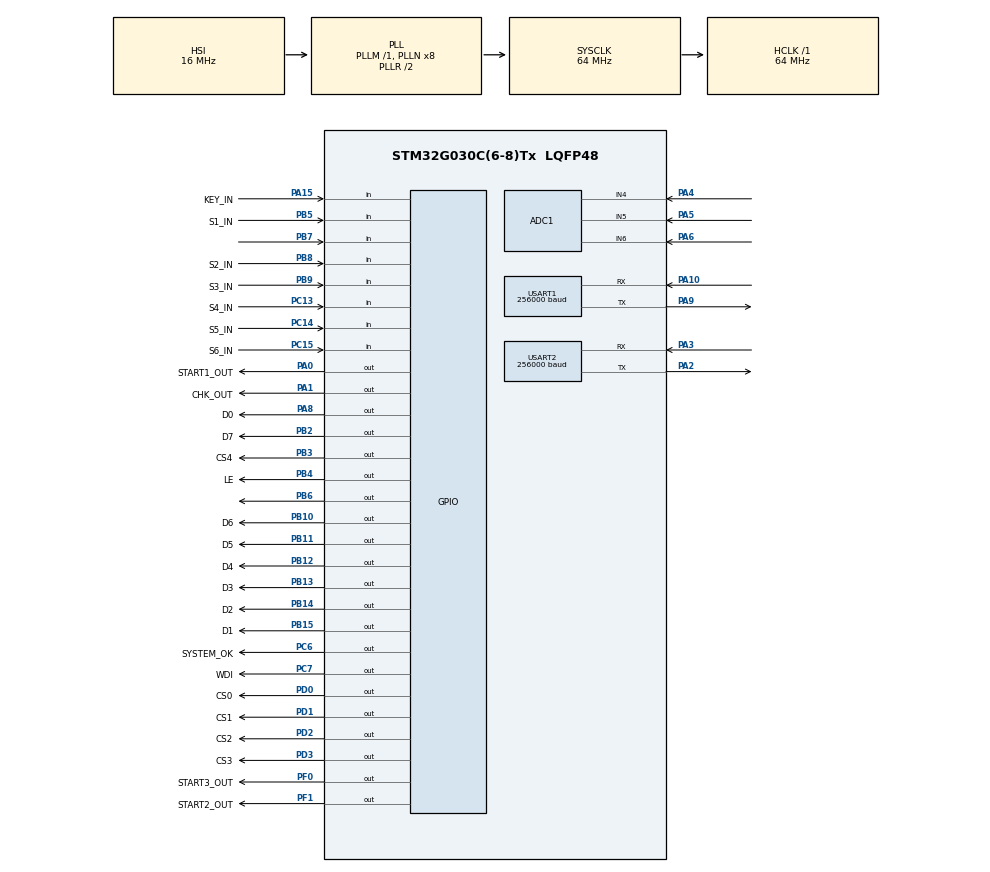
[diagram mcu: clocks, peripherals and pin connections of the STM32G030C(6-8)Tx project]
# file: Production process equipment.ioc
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ADC1.Channel-2\#ChannelRegularConversion=ADC_CHANNEL_4
ADC1.Channel-3\#ChannelRegularConversion=ADC_CHANNEL_5
ADC1.Channel-4\#ChannelRegularConversion=ADC_CHANNEL_6
ADC1.ContinuousConvMode=ENABLE
ADC1.DMAContinuousRequests=ENABLE
ADC1.NbrOfConversion=3
ADC1.NbrOfConversionFlag=1
ADC1.Rank-2\#ChannelRegularConversion=1
ADC1.Rank-3\#ChannelRegularConversion=2
ADC1.Rank-4\#ChannelRegularConversion=3
ADC1.SamplingTime-2\#ChannelRegularConversion=ADC_SAMPLINGTIME_COMMON_1
ADC1.SamplingTime-3\#ChannelRegularConversion=ADC_SAMPLINGTIME_COMMON_1
ADC1.SamplingTime-4\#ChannelRegularConversion=ADC_SAMPLINGTIME_COMMON_1
ADC1.SamplingTimeCommon1=ADC_SAMPLETIME_79CYCLES_5
ADC1.SelectedChannel=ADC_CHANNEL_4|ADC_CHANNEL_5|ADC_CHANNEL_6
ADC1.Sequencer=FULLY_CONFIGURABLE
ADC1.master=1
Dma.ADC1.0.Direction=DMA_PERIPH_TO_MEMORY
Dma.ADC1.0.EventEnable=DISABLE
Dma.ADC1.0.Instance=DMA1_Channel1
Dma.ADC1.0.MemDataAlignment=DMA_MDATAALIGN_HALFWORD
Dma.ADC1.0.MemInc=DMA_MINC_ENABLE
Dma.ADC1.0.Mode=DMA_CIRCULAR
Dma.ADC1.0.PeriphDataAlignment=DMA_PDATAALIGN_HALFWORD
Dma.ADC1.0.PeriphInc=DMA_PINC_DISABLE
Dma.ADC1.0.Polarity=HAL_DMAMUX_REQ_GEN_RISING
Dma.ADC1.0.Priority=DMA_PRIORITY_LOW
Dma.ADC1.0.RequestNumber=1
Dma.ADC1.0.SignalID=NONE
Dma.ADC1.0.SyncEnable=DISABLE
Dma.ADC1.0.SyncPolarity=HAL_DMAMUX_SYNC_NO_EVENT
Dma.ADC1.0.SyncRequestNumber=1
Dma.ADC1.0.SyncSignalID=NONE
Dma.Request0=ADC1
Mcu.Family=STM32G0
Mcu.Name=STM32G030C(6-8)Tx
Mcu.Package=LQFP48
NVIC.DMA1_Channel1_IRQn=true\:0\:0\:false\:false\:true\:false\:true\:true
NVIC.TIM14_IRQn=true\:0\:0\:false\:false\:true\:true\:true\:true
PA0.GPIO_Label=START1_OUT
PA0.Signal=GPIO_Output
PA1.GPIO_Label=CHK_OUT
PA1.Signal=GPIO_Output
PA10.Mode=Asynchronous
PA10.Signal=USART1_RX
PA13.Mode=Serial_Wire
PA13.Signal=SYS_SWDIO
PA14-BOOT0.Mode=Serial_Wire
PA14-BOOT0.Signal=SYS_SWCLK
PA15.GPIO_Label=KEY_IN
PA15.Signal=GPIO_Input
PA2.Mode=Asynchronous
PA2.Signal=USART2_TX
PA3.Mode=Asynchronous
PA3.Signal=USART2_RX
PA4.Signal=SharedAnalog_PA4
PA5.Signal=SharedAnalog_PA5
PA6.Signal=SharedAnalog_PA6
PA8.GPIO_Label=D0
PA8.Signal=GPIO_Output
PA9.Mode=Asynchronous
PA9.Signal=USART1_TX
PB10.GPIO_Label=D6
PB10.Signal=GPIO_Output
PB11.GPIO_Label=D5
PB11.Signal=GPIO_Output
PB12.GPIO_Label=D4
PB12.Signal=GPIO_Output
PB13.GPIO_Label=D3
PB13.Signal=GPIO_Output
PB14.GPIO_Label=D2
PB14.Signal=GPIO_Output
PB15.GPIO_Label=D1
PB15.Signal=GPIO_Output
PB2.GPIO_Label=D7
PB2.Signal=GPIO_Output
PB3.GPIO_Label=CS4
PB3.Signal=GPIO_Output
PB4.GPIO_Label=LE
PB4.Signal=GPIO_Output
PB5.GPIO_Label=S1_IN
PB5.Signal=GPIO_Input
PB6.GPIO_Speed=GPIO_SPEED_FREQ_VERY_HIGH
PB6.Signal=GPIO_Output
PB7.Signal=GPIO_Input
PB8.GPIO_Label=S2_IN
PB8.Signal=GPIO_Input
PB9.GPIO_Label=S3_IN
PB9.Signal=GPIO_Input
PC13.GPIO_Label=S4_IN
PC13.Signal=GPIO_Input
PC14-OSC32_IN\ (PC14).GPIO_Label=S5_IN
PC14-OSC32_IN\ (PC14).Signal=GPIO_Input
PC15-OSC32_OUT\ (PC15).GPIO_Label=S6_IN
PC15-OSC32_OUT\ (PC15).Signal=GPIO_Input
PC6.GPIO_Label=SYSTEM_OK
PC6.Signal=GPIO_Output
PC7.GPIO_Label=WDI
PC7.Signal=GPIO_Output
PD0.GPIO_Label=CS0
PD0.Signal=GPIO_Output
PD1.GPIO_Label=CS1
PD1.Signal=GPIO_Output
PD2.GPIO_Label=CS2
PD2.Signal=GPIO_Output
PD3.GPIO_Label=CS3
PD3.Signal=GPIO_Output
PF0-OSC_IN\ (PF0).GPIO_Label=START3_OUT
PF0-OSC_IN\ (PF0).Signal=GPIO_Output
PF1-OSC_OUT\ (PF1).GPIO_Label=START2_OUT
PF1-OSC_OUT\ (PF1).Signal=GPIO_Output
ProjectManager.HeapSize=0x200
ProjectManager.StackSize=0x400
ProjectManager.TargetToolchain=MDK-ARM V5.32
RCC.ADCFreq_Value=64000000
RCC.AHBFreq_Value=64000000
RCC.CortexFreq_Value=64000000
RCC.EXTERNAL_CLOCK_VALUE=12288000
RCC.HCLKFreq_Value=64000000
RCC.HSE_VALUE=8000000
RCC.HSI_VALUE=16000000
RCC.LSE_VALUE=32768
RCC.SYSCLKFreq_VALUE=64000000
RCC.SYSCLKSource=RCC_SYSCLKSOURCE_PLLCLK
RCC.VCOOutputFreq_Value=128000000
SH.SharedAnalog_PA4.0=GPIO_Analog
SH.SharedAnalog_PA4.1=ADC1_IN4,IN4
SH.SharedAnalog_PA5.0=GPIO_Analog
SH.SharedAnalog_PA5.1=ADC1_IN5,IN5
SH.SharedAnalog_PA6.0=GPIO_Analog
SH.SharedAnalog_PA6.1=ADC1_IN6,IN6
TIM14.Period=499
TIM14.Prescaler=63
USART1.BaudRate=256000
USART1.VirtualMode-Asynchronous=VM_ASYNC
USART2.BaudRate=256000
USART2.VirtualMode-Asynchronous=VM_ASYNC
VP_TIM14_VS_ClockSourceINT.Mode=Enable_Timer
board=custom

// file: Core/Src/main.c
/* USER CODE BEGIN Header */
/**
  ******************************************************************************
  * @file           : main.c
  * @brief          : Main program body
  ******************************************************************************
  * @attention
  *
  * Copyright (c) 2023 STMicroelectronics.
  * All rights reserved.
  *
  * This software is licensed under terms that can be found in the LICENSE file
  * in the root directory of this software component.
  * If no LICENSE file comes with this software, it is provided AS-IS.
  *
  ******************************************************************************
  */
/* USER CODE END Header */
#include "main.h"
#include "adc.h"
#include "dma.h"
#include "tim.h"
#include "usart.h"
#include "gpio.h"

/* USER CODE BEGIN Includes */
#include "ina219a.h"

#include "string.h"
#include "stdarg.h"
#include "stdio.h"
#include "tim.h"
/* USER CODE END Includes */

/* USER CODE BEGIN PD */

void sendBufUart1(uint8_t txLen);
/* USER CODE END PD */

void SystemClock_Config(void);
/* USER CODE BEGIN PFP */
#pragma import(__use_no_semihosting)    //ȷ��û�д�C������ʹ�ð������ĺ��������뵼�����__use_no_semihosting
void _sys_exit(int x)                   //����_sys_exit()�Ա���ʹ�ð�����ģʽ
{
  x = x;
}
struct __FILE                           //��׼����Ҫ��֧�ֺ���
{
  int handle;
};
/* FILE is typedefed in stdio.h*/
FILE __stdout;
FILE __stdin;

/**
  * @brief     �ض���fputc�������ض���c�⺯��putchar��printf��USART1��
  * @param     ch - �ַ�
               *f - �ļ�ָ��
  * @retval    �ַ�
  * @attention ���ܷ����ж���ʹ�ã�����ɲο������������
  */

int fputc(int ch, FILE *f)
{
  HAL_UART_Transmit(&huart1, (uint8_t *)&ch, 1, 0xffff);
  //while ((USART1->SR & UART_FLAG_TXE) == 0) {}  //�ȴ����ݷ������
	while ((USART1->ISR & UART_FLAG_TXE) == 0) {}  //�ȴ����ݷ������
  return ch;
}

/* USER CODE END PFP */

/* USER CODE BEGIN 0 */
#define VALID           1
#define INVALID         0
#define MACHINA         03
#define MOTOR1          VALID
#define MOTOR2          VALID
#define MOTOR3          VALID
#define MOTOR4          INVALID
#define FAN1            VALID
#define FAN2            INVALID
#define FAN3            INVALID

#define DEVS1           VALID
#define DEVS2           VALID
#define DEVS3           INVALID
#define DEVS4           INVALID
#define DEVS5           INVALID
#define DEVS6           INVALID

#define MOTOR_CURRENT_F_MIN     20000
#define MOTOR_CURRENT_B_MIN    -20000
#define FAN_CURRENT_MIN         100

#define QG_SIGN_KEY_DELAY_1000MS       1000
#define QG_SIGN_KEY_TOGGLE_6500MS      6500
#define OK      1
#define ERR     0
#define ADC_CONVERTED_DATA_BUFFER_SIZE      3   //目前3路AC_FAN_ADC
#define VAR_CONVERTED_DATA_INIT_VALUE       0

#define UART1_RXBUF_MAX                     20
#define UART1_TXBUF_MAX                     60
#define UART2_RXBUF_MAX                     10
#define UART2_TXBUF_MAX                     60
#define UART2_TX_CMD_LEN                    34

#define OPENING			1
#define CLOSEING		0
#define OPRN_CLOSE		2
#define MACHINE_OK		0
#define MACHINE_NG		1

__IO   uint16_t mADCxConvertedData[ADC_CONVERTED_DATA_BUFFER_SIZE]; //
__IO   uint8_t mDmaTransferStatus = 2;//
__IO   uint8_t mTimerStatus = 2;//

__IO ITStatus mUart1Ready = RESET;
__IO ITStatus mUart2Ready = RESET;
__IO   uint8_t mRx1Num = 0;
__IO   uint8_t mRx2Num = 0;

int mMotorCurrent[4][11] = {0};// signed long mMotorCurrent[4][11] = {0};
int mFanCurrent[3][41] = {0};
uint8_t mMotorSta[4] = {MACHINE_OK};
uint8_t mFanSta[3] = {MACHINE_OK};
uint8_t mS1toS6Sta0 = 0;
uint8_t mS1toS6Sta1 = 0xff;
uint8_t mS1toS6Sta2 = 0x00;
uint8_t mS1toS6Sta = 0;
uint8_t mInputStatus = 0;
uint8_t mLampStatus[3];

uint16_t mVolAcFan[ADC_CONVERTED_DATA_BUFFER_SIZE]; // 交流风机实际的采样电�?????
uint8_t m573Status[5] = {0};

uint8_t mCheckStatus = 3;               //3：开机后，一直没有开启检测流程，等待KEY_IN和uart2 信号  2：开机后，已经等到KEY_IN，马上发送启动命令给PC  1：正在检测中，不响应KEY_IN信号   0：检测完成，等待KEY_IN和uart2 信号

uint8_t mRxBufUart1[UART1_RXBUF_MAX] = {0};
uint8_t mTxBufUart1[UART1_TXBUF_MAX] = {0};
uint8_t mRxBufUart2[UART2_RXBUF_MAX] = {0};
uint8_t mTxBufUart2[UART2_TXBUF_MAX] = {0};
uint8_t mCmdBufU1[UART1_RXBUF_MAX] = {0};
uint8_t mCmdBufU2[UART2_RXBUF_MAX] = {0};
uint8_t mCmdferCountUart1 = 0;
uint8_t mCmdferCountUart2 = 0;

uint16_t crc(uint8_t *s,uint16_t len)
{     uint16_t acc = 0,i;
      while (len--)
      {     acc = acc ^ (*s++ << 8);
            for (i = 0; i++ < 8;)
            {     if (acc & 0x8000)
                          acc = (acc << 1) ^ 0x8005;
                  else
                          acc <<= 1;
            }
       }
      return  acc;
}

//命令长度采用定长命令 0x1b 0x10 CMD D0 D1 D2 D3 D4 CRC1 CRC2 10个字
uint8_t CMD_Analysis(uint8_t* CmdBuf, uint8_t bufSize)
{
    uint16_t crc16Val;
    if(bufSize < 10)
        return ERR;
    if(CmdBuf[0] != 0x1b || CmdBuf[1] != 0x10) {
        HAL_UART_Receive_IT(&huart2, (uint8_t *)mRxBufUart2, UART2_RXBUF_MAX);
        HAL_UART_Receive_IT(&huart1, (uint8_t *)mRxBufUart1, UART1_RXBUF_MAX);
        return ERR;
    }
    crc16Val = crc(CmdBuf + 2, 8);
    if(crc16Val != 0) {
        HAL_UART_Receive_IT(&huart2, (uint8_t *)mRxBufUart2, UART2_RXBUF_MAX);
        HAL_UART_Receive_IT(&huart1, (uint8_t *)mRxBufUart1, UART1_RXBUF_MAX);
        return ERR;
    }
    return OK;
}
#define   CMD_START_PC                    0x00
#define   CMD_WRITE_CHK                   0x01
#define   CMD_WRITE_START1                0x02
#define   CMD_WRITE_START2                0x03
#define   CMD_WRITE_START3                0x04

#define   CMD_READ_S1_S6_KEY              0x11
#define   CMD_READ_DC_M1_CURRENT          0x12
#define   CMD_READ_DC_M2_CURRENT          0x13
#define   CMD_READ_DC_M3_CURRENT          0x14
#define   CMD_READ_DC_M4_CURRENT          0x15

#define   CMD_READ_AC_FAN1_CURRENT        0x21
#define   CMD_READ_AC_FAN2_CURRENT        0x22
#define   CMD_READ_AC_FAN3_CURRENT        0x23

#define   CMD_READ_ALL                    0x2f

#define   CMD_WRITE_D0_D7_CS0             0x31
#define   CMD_WRITE_D0_D7_CS1             0x32
#define   CMD_WRITE_D0_D7_CS2             0x33
#define   CMD_WRITE_D0_D7_CS3             0x34
#define   CMD_WRITE_D0_D7_CS4             0x35

void sendBufUart1(uint8_t txLen)
{
    uint16_t i = 0;
    for(i = 0; i < 3 ;i++) {
        if(HAL_UART_Transmit_IT(&huart1,(uint8_t*)mTxBufUart1,txLen) != HAL_OK) {
            HAL_Delay(10);
        }
        else
            break;
    }
    if(i >=3)
        Error_Handler();
}

void sendBufUart2(uint8_t txLen)
{
    uint16_t i = 0;
    for(i = 0; i < 3 ;i++) {
        if(HAL_UART_Transmit_IT(&huart2,(uint8_t*)mTxBufUart2,txLen) != HAL_OK) {
            HAL_Delay(10);
        }
        else
            break;
    }
    if(i >=3)
        Error_Handler();
}
//这个函数可以作废�?????
void StatusUpdata(uint8_t CMD,uint8_t* data,uint8_t size)
{
    uint16_t crcVal = 0;
    if(size > UART2_TX_CMD_LEN - 5)
        size = UART2_TX_CMD_LEN - 5;
    mTxBufUart2[0] = 0x1b;
    mTxBufUart2[1] = 0x10;
    mTxBufUart2[2] = CMD;
    for(int i = 0; i < UART2_TX_CMD_LEN - 5;i++)
        mTxBufUart2[i + 3] = 0x00;
    for(int i = 0; i < size;i++)
        mTxBufUart2[3 + i] = data[i];
    crcVal = crc(mTxBufUart2 + 2, size + 1);
    mTxBufUart2[UART2_TX_CMD_LEN - 2] = crcVal & 0xff;
    mTxBufUart2[UART2_TX_CMD_LEN - 1] = (crcVal >> 8) & 0xff;
    sendBufUart2(UART2_TX_CMD_LEN);
	// while(1){
    //     if(__HAL_UART_GET_FLAG(&huart2,UART_FLAG_TC) == SET)
    //         break;
    //     times++;
    //     if(times > 0xA000)
    //         break;
    // }
    // mUart2Ready = RESET;
    return;
}

void AllStatusUpdata(void)
{
    uint16_t crcVal = 0, i = 0;
    uint8_t *prt;
    mTxBufUart2[0] = 0x1b;
    mTxBufUart2[1] = 0x10;
    mTxBufUart2[2] = CMD_READ_ALL;
    for(i = 0; i < 4; i++) {
        prt = (uint8_t *)mMotorCurrent[i];
        mTxBufUart2[3 + i * 4] = prt[0] & 0xff;
        mTxBufUart2[4 + i * 4] = prt[1] & 0xff;
        mTxBufUart2[5 + i * 4] = prt[2] & 0xff;
        mTxBufUart2[6 + i * 4] = prt[3] & 0xff;
    }

    for(i = 0; i < 3; i++) {
        prt = (uint8_t *)mFanCurrent[i];
        mTxBufUart2[23 + i * 4] = prt[0] & 0xff;
        mTxBufUart2[24 + i * 4] = prt[1] & 0xff;
        mTxBufUart2[25 + i * 4] = prt[2] & 0xff;
        mTxBufUart2[26 + i * 4] = prt[3] & 0xff;
    }
    mTxBufUart2[27] = mCheckStatus;
    mTxBufUart2[28] = mS1toS6Sta;
    mTxBufUart2[29] = mMotorSta[0] | (mMotorSta[1] << 1) | (mMotorSta[2] << 2) | (mMotorSta[3] << 3)
                         | (mFanSta[0] << 4) | (mFanSta[1] << 5) | (mFanSta[2] << 6);
    mTxBufUart2[30] = 0;        //预留
    mTxBufUart2[31] = 0;        //预留

    crcVal = crc(mTxBufUart2 + 2, 30);
    mTxBufUart2[32] = crcVal & 0xff;
    mTxBufUart2[33] = (crcVal >> 8) & 0xff;
    sendBufUart2(34);
}

uint8_t CMD_Process(void)
{
    uint8_t cmd1Len = 0,cmd2Len = 0;
    uint8_t re;
    uint8_t status;
    uint8_t cmdType;
    if(mUart1Ready == SET) {
        cmd1Len = cmd1Len;//Do something
    }
    if(mUart2Ready == SET) {
        cmd2Len = huart2.RxXferSize - huart2.RxXferCount;
        re = CMD_Analysis(huart2.pRxBuffPtr,cmd2Len);
        if(re != OK)
          return re;
        cmdType = huart2.pRxBuffPtr[3];
        switch (cmdType)
        {
            case CMD_START_PC:
                mCheckStatus = 1;
                break;
            case CMD_WRITE_CHK:
                setCheckOut(huart2.pRxBuffPtr[4]);
                break;
            case CMD_WRITE_START1:
                setStart1Out(huart2.pRxBuffPtr[4]);
                break;
            case CMD_WRITE_START2:
                setStart2Out(huart2.pRxBuffPtr[4]);
                break;
            case CMD_WRITE_START3:
                setStart3Out(huart2.pRxBuffPtr[4]);
                break;

            case CMD_READ_S1_S6_KEY:
                status = getS1S6KeyStatus();
                StatusUpdata(CMD_READ_S1_S6_KEY,&status,1);
                break;
            case CMD_READ_ALL:
                AllStatusUpdata();
                break;
            default:
                break;
        }
        HAL_UART_Receive_IT(&huart2, (uint8_t *)mRxBufUart2, UART2_RXBUF_MAX);
        HAL_UART_Receive_IT(&huart1, (uint8_t *)mRxBufUart1, UART1_RXBUF_MAX);
    }
    return re;
}

//ADC
 void HAL_ADC_ConvCpltCallback(ADC_HandleTypeDef *hadc)
{
  /* Prevent unused argument(s) compilation warning */
	 UNUSED(hadc);
   mDmaTransferStatus = 1;//本次转换完成
}

void HAL_UART_RxCpltCallback(UART_HandleTypeDef *huart)
{
  /* Prevent unused argument(s) compilation warning */
  if(huart->Instance == USART1)
	    mUart1Ready = SET;
  else if(huart->Instance == USART2) {
        mUart2Ready = SET;
  }

  /* NOTE : This function should not be modified, when the callback is needed,
            the HAL_UART_RxCpltCallback can be implemented in the user file.
   */
}

// void set573DataforS1S6(uint8_t bit)
// {
//     if(((mS1toS6Sta1 & bit) == bit) && ((mS1toS6Sta2 & bit) == 0x00)) {
//         m573Status[0] |= bit;
//         m573Status[1] &= ~bit;
//     }
//     else {
//         m573Status[1] |= bit;
//         m573Status[0] &= ~bit;
//     }
//     mS1toS6Sta = m573Status[1];     //0:OK  1�???? NG
// }
//mS1toS6Sta1  有一个是低电平就是有故障
//mS1toS6Sta2  有一个是高电平就是有故障
//mS1toS6Sta0  有一个是高电平就是有故障
void set573DataforS1S6(uint8_t bit)
{
    if(((mS1toS6Sta1 & bit) != bit) || ((mS1toS6Sta2 & bit) == bit) || (mS1toS6Sta0 & bit == bit)) {     //有故障
        m573Status[1] |= bit;
        m573Status[0] &= ~bit;
    }
    else {     //都是正常的
        m573Status[0] |= bit;
        m573Status[1] &= ~bit;
    }
    mS1toS6Sta = m573Status[1];     //0:OK  NG:1
}

void set573DataforMotorFan(uint8_t sta,uint8_t bit)
{
    if(sta == MACHINE_OK) {
        m573Status[2] |= bit;
        m573Status[3] &= ~bit;
    }
    else {
        m573Status[2] &= ~bit;
        m573Status[3] |= bit;
    }
}

/* USER CODE END 0 */

int main(void)
{
  /* USER CODE BEGIN 1 */
  GPIO_PinState keyin;
  GPIO_PinState keyinPrevious;
  int keyinCount = 0,avrMCurrrent = 0;
  uint8_t inaAddress = 0,motorCurrentCount = 0,fanCurrentCount = 0, i = 0,j = 0;
  s32 avrFanCurrent = 0;
  uint32_t totalCount = 0;
  uint8_t systemStaMachine = 0;
  uint16_t motorStep[4] = {0};
  uint16_t motorStep_FB_Current[4] = {0};   //只有电流方向正确下的电机步数
  uint16_t fanStep[3] = {0};
  int motorCur_temp[4] = {0};
  uint8_t allMotorSta = 0, allFanSta = 0, tempSta = 0;
  /* USER CODE END 1 */

  /* MCU Configuration--------------------------------------------------------*/

  /* Reset of all peripherals, Initializes the Flash interface and the Systick. */
  HAL_Init();

  /* Configure the system clock */
  SystemClock_Config();

  /* Initialize all configured peripherals */
  MX_GPIO_Init();
  MX_DMA_Init();
  MX_ADC1_Init();
  MX_TIM14_Init();
  MX_USART1_UART_Init();
  MX_USART2_UART_Init();
  /* USER CODE BEGIN 2 */

    for(i = 0 ;i < 5; i++) {
        setDforLed(i, m573Status[i]);
    }

  for (i = 0; i < ADC_CONVERTED_DATA_BUFFER_SIZE; i++)
  {
      mADCxConvertedData[i] = VAR_CONVERTED_DATA_INIT_VALUE;  //
  }
  if (HAL_ADCEx_Calibration_Start(&hadc1) != HAL_OK)//ADC
  {
      /* Calibration Error */
        Error_Handler();
  }
  if (HAL_ADC_Start_DMA(&hadc1,
                      (uint32_t *)mADCxConvertedData,
                      ADC_CONVERTED_DATA_BUFFER_SIZE
                      ) != HAL_OK)
  {
      /* ADC conversion start error */
        Error_Handler();
  }
  if (HAL_TIM_Base_Start_IT(&htim14) != HAL_OK)//start TIM14
  {
        Error_Handler();
  }

//   if(HAL_UART_Receive_IT(&huart2, (uint8_t *)mRxBufUart2, UART2_RXBUF_MAX) != HAL_OK)
//   {
//         Error_Handler();
//   }

//   if(HAL_UART_Receive_IT(&huart1, (uint8_t *)mRxBufUart1, UART1_RXBUF_MAX) != HAL_OK)
//   {
//         Error_Handler();
//   }
  ina219_configureRegisters();
  /* USER CODE END 2 */

  /* Infinite loop */
  /* USER CODE BEGIN WHILE */
  while (1)
  {

        // CMD_Process();//
        if(mTimerStatus != 1) {   //1000us Timer
            continue;
        }
        ToggleWDI();
        if(mCheckStatus != 3)
            totalCount++;
        if((totalCount % 500) == 1)
            Toggle_SYSTEM_OK();
        if(mDmaTransferStatus == 1) {
            mFanCurrent[0][fanCurrentCount] = mADCxConvertedData[0]*3300/4096;
            mFanCurrent[1][fanCurrentCount] = mADCxConvertedData[1]*3300/4096;
            mFanCurrent[2][fanCurrentCount] = mADCxConvertedData[2]*3300/4096;
            // printf("mFanCurrent = %d,%d,%d \r\n",mFanCurrent[0][fanCurrentCount],mFanCurrent[1][fanCurrentCount],mFanCurrent[2][fanCurrentCount]);
            mDmaTransferStatus = 0;
            fanCurrentCount++;
            if(fanCurrentCount >= 40) {
                fanCurrentCount = 0;
                for(i = 0;i < 3;i++) {
                    avrFanCurrent = 0;
                    for(j = 0;j < 40; j++) {
                        avrFanCurrent += mFanCurrent[i][j];
                    }
                    mFanCurrent[i][40] = avrFanCurrent / 40;
                    // if(totalCount > (100 + QG_SIGN_KEY_DELAY_1000MS) && totalCount < (500 + QG_SIGN_KEY_DELAY_1000MS)) {     //100ms ~ 500ms
                    if(totalCount > (100 + QG_SIGN_KEY_DELAY_1000MS)) {     //> 100ms
                        if(mFanCurrent[i][40] > FAN_CURRENT_MIN) {
                            fanStep[i]++;
                        }
                    }
                }
            }
        }
        //
        if(inaAddress == 0){
                mMotorCurrent[0][motorCurrentCount] = ina219_GetCurrent_uA(INA219_I2C_ADDRESS_CONF_0);
        }
        else if(inaAddress == 1){
                mMotorCurrent[1][motorCurrentCount] = ina219_GetCurrent_uA(INA219_I2C_ADDRESS_CONF_1);
        }
        else if(inaAddress == 2){
                mMotorCurrent[2][motorCurrentCount] = ina219_GetCurrent_uA(INA219_I2C_ADDRESS_CONF_4);
        }
        else if(inaAddress == 3){
                mMotorCurrent[3][motorCurrentCount] = ina219_GetCurrent_uA(INA219_I2C_ADDRESS_CONF_5);
        }
        motorCur_temp[inaAddress] = mMotorCurrent[inaAddress][motorCurrentCount];
        inaAddress++;
        if(inaAddress >= 4) {
                inaAddress = 0;
                motorCurrentCount++;
                // printf("motorCur_temp=%d,%d,%d,%d \r\n",motorCur_temp[0],motorCur_temp[1],motorCur_temp[2],motorCur_temp[3]);
        }
        if(motorCurrentCount >= 10) {
            motorCurrentCount = 0;
            for(i = 0;i < 4;i++) {
                avrMCurrrent = 0;
                for(j = 0;j < 10; j++) {
                    avrMCurrrent += mMotorCurrent[i][j];
                }
                mMotorCurrent[i][10] = avrMCurrrent / 10;
                // if(totalCount > (100 + QG_SIGN_KEY_DELAY_1000MS) && totalCount < (500 + QG_SIGN_KEY_DELAY_1000MS)) {     //100ms ~ 500ms
                if(totalCount > (100 + QG_SIGN_KEY_DELAY_1000MS)) {     // > 100ms
                    if(mMotorCurrent[i][10] > MOTOR_CURRENT_F_MIN || mMotorCurrent[i][10] < MOTOR_CURRENT_B_MIN) {
                        motorStep[i]++;
                        // printf("totalCount = %d mMotorCurrent[%d][10]= %d\r\n",totalCount,i,mMotorCurrent[i][10]);
                    }
                }
                if((totalCount > (100 + QG_SIGN_KEY_DELAY_1000MS)) && totalCount < (5000 + QG_SIGN_KEY_DELAY_1000MS)) {     // > 100ms
                    if(mMotorCurrent[i][10] < MOTOR_CURRENT_B_MIN) {
                        motorStep_FB_Current[i]++;
                        // printf("totalCount = %d mMotorCurrent[%d][10]= %d\r\n",totalCount,i,mMotorCurrent[i][10]);
                    }
                }
                else if(totalCount > QG_SIGN_KEY_TOGGLE_6500MS){
                    if(mMotorCurrent[i][10] > MOTOR_CURRENT_F_MIN) {
                        motorStep_FB_Current[i]++;
                        // printf("totalCount = %d mMotorCurrent[%d][10]= %d\r\n",totalCount,i,mMotorCurrent[i][10]);
                    }
                }
            }
        }

        if(mCheckStatus != 1){
                //>>>>>>>>     Read keyin status    >>>>>>>>>>>>>>>>>>>>>
                keyin = getKeyinStatus();
                if(keyinPrevious == GPIO_PIN_RESET && keyin == GPIO_PIN_RESET) {
                    keyinCount++;
                    if(keyinCount > 100)    //100ms 去抖
                    {   mCheckStatus = 1;     //�?????始检�?????
                        totalCount = 0;
                        keyinCount = 0;
                        systemStaMachine = 1;
                        mS1toS6Sta0 = 0x00;
                        mS1toS6Sta1 = 0xff;
                        mS1toS6Sta2 = 0x00;
                        mS1toS6Sta = 0x00;      //0�????? OK �?????1 ：NG
                        mInputStatus = 0x00;
                        allMotorSta = 0;
                        allFanSta = 0;
                        for(i = 0;i < 4; i++) {
                            mMotorSta[i] = 0;
                            motorStep[i] = 0;
                            motorStep_FB_Current[i] = 0;
                        }
                        for(i = 0;i < 3; i++) {
                            mFanSta[i] = 0;
                            fanStep[i] = 0;
                        }
                        for(i = 0;i < 5; i++) {
                            m573Status[i] = 0;
                        }
                        set_SYSTEM_OK();
                    }
                }
                else {
                    keyinCount = 0;
                }
                keyinPrevious = keyin;
            //<<<<<<<<<   Read keyin status     <<<<<<<<<<<<<<<<<<<<
            //   if(mRx2Num!= 0 && __HAL_UART_GET_IT(&huart2,UART_IT_IDLE)!=0)
            //   {
            //       HAL_UART_RxCpltCallback(&huart2);
            //       __HAL_UART_CLEAR_IT(&huart2, UART_CLEAR_IDLEF); //手动�????0清空标志�????
            //   }
        }
        switch (systemStaMachine)
        {
            case 1:
                setCheckOut(1);
                setStart3Out(1);         //接�?�直流电�????
                systemStaMachine = 2;
                break;
            case 2:
                if(totalCount > QG_SIGN_KEY_DELAY_1000MS) {    //1000ms     //给合本的设备1000ms的气感按钮信号
                    systemStaMachine = 3;
                    // setCheckOut(0);      //应该�?直处于开门状�?
                }
                break;
            case 3:
                // setStart3Out(0);         //断开直流电机，只要断�????�????个直接点击，S1.S2就会报警�????
                systemStaMachine = 4;
                break;
            case 4:
                if(totalCount > (QG_SIGN_KEY_TOGGLE_6500MS)) {   //6000ms
                    systemStaMachine = 5;
                }
                break;
            case 5:
                setCheckOut(0);     //模拟气感�?�?
                setStart3Out(0);    //断开第一路电机，确保状�?�和故障灯都亮�??
                if(totalCount > (6000 + QG_SIGN_KEY_TOGGLE_6500MS)) {   //6000ms
                    systemStaMachine = 6;
                    mCheckStatus = 0; //�????测完成，可以进行下一次循环检�????
                }
            default:
                break;
        }
        if(totalCount > (2000 + QG_SIGN_KEY_TOGGLE_6500MS) && totalCount < (2500 + QG_SIGN_KEY_TOGGLE_6500MS)) {    //这个周期内S1 �???? S2都应该是�????路的。开路都是高电平
            mS1toS6Sta1 &= (getS1S6KeyStatus() & 0xff); // �????测到�????次错误就算错误�??  //有一个是低电平就是有故障
            // printf("mS1toS6Sta1 = 0x%x \r\n",mS1toS6Sta1);
        }
        // if(totalCount > (500 + QG_SIGN_KEY_DELAY_1000MS) && totalCount < (550 + QG_SIGN_KEY_DELAY_1000MS)) {     //500ms ~ 550ms  :�????100ms~500ms�???? 400ms / 0.5ms / 40 = 20 , 应该�????20 次，但是留有余量，可能中间有串口中断等情�????
        if(totalCount > 5000) {     //500ms ~ 550ms  :�????100ms~500ms�???? 400ms / 0.5ms / 40 = 20 , 应该�????20 次，但是留有余量，可能中间有串口中断等情�????
            if(motorStep[0] < 10 && MOTOR1 == VALID) {
                mMotorSta[0] = MACHINE_NG;
                allMotorSta |= 1;
            }
            if(motorStep[1] < 10  && MOTOR2 == VALID) {
                mMotorSta[1] = MACHINE_NG;
                allMotorSta |= 1;
            }
            if(motorStep[2] < 10  && MOTOR3 == VALID) {
                mMotorSta[2] = MACHINE_NG;
                allMotorSta |= 1;
            }
            if(motorStep[3] < 10  && MOTOR4 == VALID) {
                mMotorSta[3] = MACHINE_NG;
                allMotorSta |= 1;
            }

            //判断电流方向，判断电机线接反
            if(motorStep_FB_Current[0] < 10 && MOTOR1 == VALID) {  //只报电机故障不报S1S2故障
                mMotorSta[0] = MACHINE_NG;
            }
            if(motorStep_FB_Current[1] < 10  && MOTOR2 == VALID) {  //只报电机故障不报S1S2故障
                mMotorSta[1] = MACHINE_NG;
            }
            if(motorStep_FB_Current[2] < 10  && MOTOR3 == VALID) {  //只报电机故障不报S1S2故障
                mMotorSta[2] = MACHINE_NG;
            }
            if(motorStep_FB_Current[3] < 10  && MOTOR4 == VALID) {  //只报电机故障不报S1S2故障
                mMotorSta[3] = MACHINE_NG;
            }

            if(fanStep[0] < 10 && FAN1 == VALID) {
                mFanSta[0] = MACHINE_NG;
                allFanSta |= 1;
            }
            if(fanStep[1] < 10 && FAN2 == VALID) {
                mFanSta[1] = MACHINE_NG;
                allFanSta |= 1;
            }
            if(fanStep[2] < 10 && FAN3 == VALID) {
                mFanSta[2] = MACHINE_NG;
                allFanSta |= 1;
            }
        }
        // if(totalCount > (550 + QG_SIGN_KEY_DELAY_1000MS) && totalCount < (5950 + QG_SIGN_KEY_DELAY_1000MS)) {     //如果给了气感信号后，�?么反应也没有，那么就等于合本的设备气感信号输入端有问题�??
        if(totalCount > 5000) {     //如果给了气感信号后，�?么反应也没有，那么就等于合本的设备气感信号输入端有问题�??
            if(motorStep[0] == 0 && motorStep[1] == 0 && motorStep[2] == 0 && motorStep[3] == 0
                && fanStep[0] == 0 && fanStep[1] == 0 && fanStep[2] == 0) {
                    mInputStatus &= 0xfe;
                    mInputStatus |= 0x02;
                    m573Status[4] = mInputStatus;
                }
            else {
                mInputStatus |= 0x01;
                mInputStatus &= 0xfd;
                m573Status[4] = mInputStatus;
            }
        }
        if((totalCount > 5400 + QG_SIGN_KEY_DELAY_1000MS) && (totalCount < 5450 + QG_SIGN_KEY_DELAY_1000MS))
        {
            tempSta = (getS1S6KeyStatus() & 0xff);      //高电平表示节点断开，低电平表示节点闭合
            if(allMotorSta == 0 && allFanSta == 0) {     //电机和风扇都是正常的，闭合，低电平 亮 S1
                if((tempSta & 0x01) == 0x01) {  //故障
                    mS1toS6Sta0 |= 0x01;
                }
                if((tempSta & 0x02) != 0x02) {  //故障
                    mS1toS6Sta0 |= 0x02;
                }
            }
            if(allMotorSta == 1 || allFanSta == 1){
                if((tempSta & 0x01) != 0x01) {  //故障
                    mS1toS6Sta0 |= 0x01;
                }
                if((tempSta & 0x02) == 0x02) {  //故障
                    mS1toS6Sta0 |= 0x02;
                }
            }
            // printf("allMotorSta,allFanSta,tempSta , mS1toS6Sta0 = 0x%x, 0x%x, 0x%x, 0x%x\r\n",allMotorSta,allFanSta,tempSta,mS1toS6Sta0);
        }
        if(totalCount > (5950 + QG_SIGN_KEY_TOGGLE_6500MS) && totalCount < (6000 + QG_SIGN_KEY_TOGGLE_6500MS))  {// 12秒后, 实际是断�????气感信号5.5秒后�????
            mS1toS6Sta2 |= (getS1S6KeyStatus() & 0xff);  //应该每次都是闭合的�?�闭路都是低电平，有�?个是高电平那就是有故障�??
            // printf("mS1toS6Sta1 ,mS1toS6Sta2 = 0x%x , 0x%x \r\n",mS1toS6Sta1, mS1toS6Sta2);
        }
        if(totalCount > (6000 + QG_SIGN_KEY_TOGGLE_6500MS)) {
            if(DEVS1 == VALID) {
                set573DataforS1S6(0x01);
            }
            if(DEVS2 == VALID) {
                set573DataforS1S6(0x02);
            }
            if(DEVS3 == VALID) {
                set573DataforS1S6(0x04);
            }
            if(DEVS4 == VALID) {
                set573DataforS1S6(0x08);
            }
            if(DEVS5 == VALID) {
                set573DataforS1S6(0x10);
            }
            if(DEVS6 == VALID) {
                set573DataforS1S6(0x20);
            }
            if(FAN1 == VALID) {
                set573DataforMotorFan(mFanSta[0],0x01);
            }
            if(FAN2 == VALID) {
                set573DataforMotorFan(mFanSta[1],0x02);
            }
            if(FAN3 == VALID) {
                set573DataforMotorFan(mFanSta[2],0x04);
            }
            if(MOTOR1 == VALID) {
                set573DataforMotorFan(mMotorSta[0],0x08);
            }
            if(MOTOR2 == VALID) {
                set573DataforMotorFan(mMotorSta[1],0x10);
            }
            if(MOTOR3 == VALID) {
                set573DataforMotorFan(mMotorSta[2],0x20);
            }
            if(MOTOR4 == VALID) {
                set573DataforMotorFan(mMotorSta[3],0x40);
            }
        }

        if(totalCount < 5 || totalCount > (6000 + QG_SIGN_KEY_TOGGLE_6500MS)){
            if(totalCount > (6000 + QG_SIGN_KEY_TOGGLE_6500MS)) {
                reset_SYSTEM_OK();
            }
            for(i = 0 ;i < 5; i++) {
                setDforLed(i, m573Status[i]);
            }
            // printf("motorStep ,FanStep = %d, %d, %d, %d, %d, %d, %d\r\n",motorStep[0],motorStep[1],motorStep[2],motorStep[3],fanStep[0],fanStep[1],fanStep[2]);
        }
        mTimerStatus = 0;
    /* USER CODE END WHILE */

  }
}

void SystemClock_Config(void)
{
  RCC_OscInitTypeDef RCC_OscInitStruct = {0};
  RCC_ClkInitTypeDef RCC_ClkInitStruct = {0};

  /** Configure the main internal regulator output voltage
  */
  HAL_PWREx_ControlVoltageScaling(PWR_REGULATOR_VOLTAGE_SCALE1);

  /** Initializes the RCC Oscillators according to the specified parameters
  * in the RCC_OscInitTypeDef structure.
  */
  RCC_OscInitStruct.OscillatorType = RCC_OSCILLATORTYPE_HSI;
  RCC_OscInitStruct.HSIState = RCC_HSI_ON;
  RCC_OscInitStruct.HSIDiv = RCC_HSI_DIV1;
  RCC_OscInitStruct.HSICalibrationValue = RCC_HSICALIBRATION_DEFAULT;
  RCC_OscInitStruct.PLL.PLLState = RCC_PLL_ON;
  RCC_OscInitStruct.PLL.PLLSource = RCC_PLLSOURCE_HSI;
  RCC_OscInitStruct.PLL.PLLM = RCC_PLLM_DIV1;
  RCC_OscInitStruct.PLL.PLLN = 8;
  RCC_OscInitStruct.PLL.PLLP = RCC_PLLP_DIV2;
  RCC_OscInitStruct.PLL.PLLR = RCC_PLLR_DIV2;
  if (HAL_RCC_OscConfig(&RCC_OscInitStruct) != HAL_OK)
  {
    Error_Handler();
  }

  /** Initializes the CPU, AHB and APB buses clocks
  */
  RCC_ClkInitStruct.ClockType = RCC_CLOCKTYPE_HCLK|RCC_CLOCKTYPE_SYSCLK
                              |RCC_CLOCKTYPE_PCLK1;
  RCC_ClkInitStruct.SYSCLKSource = RCC_SYSCLKSOURCE_PLLCLK;
  RCC_ClkInitStruct.AHBCLKDivider = RCC_SYSCLK_DIV1;
  RCC_ClkInitStruct.APB1CLKDivider = RCC_HCLK_DIV1;

  if (HAL_RCC_ClockConfig(&RCC_ClkInitStruct, FLASH_LATENCY_2) != HAL_OK)
  {
    Error_Handler();
  }
}

void Error_Handler(void)
{
  /* USER CODE BEGIN Error_Handler_Debug */
  /* User can add his own implementation to report the HAL error return state */
  __disable_irq();
  while (1)
  {
    HAL_Delay(100);
    Toggle_SYSTEM_OK();
  }
  /* USER CODE END Error_Handler_Debug */
}
